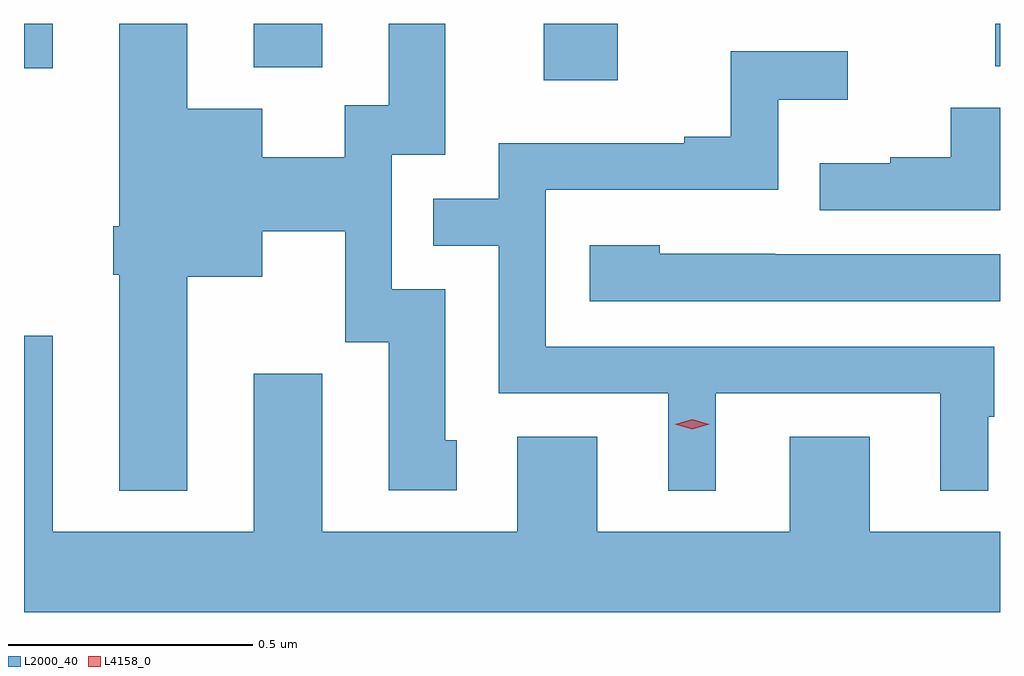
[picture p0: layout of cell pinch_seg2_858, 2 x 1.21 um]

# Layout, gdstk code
import gdstk
lib = gdstk.Library(unit=1e-6, precision=1e-09)
def R(c, l, rs):  # rectangles x0, y0, x1, y1
    for r in rs: c.add(gdstk.rectangle(r[:2], r[2:], *l))
def P(c, l, *ps):  # polygons
    for p in ps: c.add(gdstk.Polygon(p, *l))
L2000_40 = (2000, 40)
L4158_0 = (4158, 0)

pinch_seg2_858 = lib.new_cell('pinch_seg2_858')
R(pinch_seg2_858, L2000_40, [(869.597,595.446,869.749,595.561), (868.532,595.47,868.591,595.561), (869.003,595.472,869.143,595.561), (870.522,595.474,870.532,595.561)])
P(pinch_seg2_858, L2000_40, [(868.867,595.043),(869.02,595.043),(869.02,595.136),(869.19,595.136),(869.19,594.909),(869.279,594.909),(869.279,594.606),(869.419,594.606),(869.419,594.708),(869.395,594.708),(869.395,595.017),(869.286,595.017),(869.286,595.293),(869.395,595.293),(869.395,595.561),(869.279,595.561),(869.279,595.394),(869.189,595.394),(869.189,595.288),(869.02,595.288),(869.02,595.387),(868.867,595.387),(868.867,595.561),(868.727,595.561),(868.727,595.147),(868.715,595.147),(868.715,595.047),(868.727,595.047),(868.727,594.605),(868.867,594.605)],
  [(869.95,594.804),(870.41,594.804),(870.41,594.605),(870.508,594.605),(870.508,594.756),(870.52,594.756),(870.52,594.9),(869.601,594.9),(869.601,595.221),(870.078,595.221),(870.078,595.406),(870.22,595.406),(870.22,595.505),(869.98,595.505),(869.98,595.33),(869.885,595.33),(869.885,595.317),(869.505,595.317),(869.505,595.203),(869.371,595.203),(869.371,595.107),(869.505,595.107),(869.505,594.804),(869.852,594.804),(869.852,594.605),(869.95,594.605)],
  [(870.532,595.389),(870.431,595.389),(870.431,595.288),(870.307,595.288),(870.307,595.276),(870.163,595.276),(870.163,595.179),(870.532,595.179)],
  [(870.532,595.089),(870.071,595.089),(870.071,595.09),(869.835,595.09),(869.835,595.108),(869.691,595.108),(869.691,594.993),(870.532,594.993)],
  [(870.532,594.52),(870.265,594.52),(870.265,594.715),(870.101,594.715),(870.101,594.52),(869.707,594.52),(869.707,594.715),(869.543,594.715),(869.543,594.52),(869.143,594.52),(869.143,594.844),(869.003,594.844),(869.003,594.52),(868.591,594.52),(868.591,594.922),(868.532,594.922),(868.532,594.356),(870.532,594.356)])
P(pinch_seg2_858, L4158_0, [(869.901,594.731),(869.866,594.741),(869.865,594.741),(869.866,594.741),(869.901,594.751),(869.936,594.741),(869.937,594.741),(869.936,594.741)])

lib.write_gds('pinch_seg2_858.gds')
